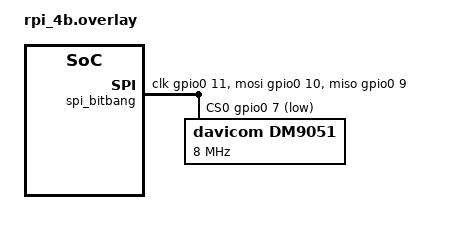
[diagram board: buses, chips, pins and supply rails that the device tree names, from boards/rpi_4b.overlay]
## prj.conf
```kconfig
CONFIG_NETWORKING=y
CONFIG_NET_IPV6=n
CONFIG_NET_IPV4=y
CONFIG_NET_ARP=y
CONFIG_NET_UDP=y
CONFIG_NET_DHCPV4=y
CONFIG_NET_DHCPV4_OPTION_CALLBACKS=y
CONFIG_DNS_RESOLVER=y

CONFIG_TEST_RANDOM_GENERATOR=y

CONFIG_INIT_STACKS=y

CONFIG_NET_MGMT=y
CONFIG_NET_MGMT_EVENT=y

CONFIG_NET_LOG=y
CONFIG_LOG=y

CONFIG_SLIP_STATISTICS=n
CONFIG_NET_SHELL=y

# Ethernet carrier changes (and various networking deferred works)
# run on the system workqueue. On rpi_4b + networking + shell + logging,
# the default stack can be too small and can manifest as hard faults in
# the sysworkq thread.
CONFIG_SYSTEM_WORKQUEUE_STACK_SIZE=8192

# Networking threads need significantly larger stacks on AArch64 (64-bit)
# to avoid overflows during complex packet processing or high traffic.
CONFIG_NET_RX_STACK_SIZE=4096
CONFIG_NET_TX_STACK_SIZE=4096
CONFIG_NET_MGMT_EVENT_STACK_SIZE=4096

# # Avoid "whole system" hangs if a work handler misbehaves: by default the
# # system workqueue runs at cooperative priority (-1) which can starve all
# # preemptible threads (LED blink, shell, etc.). Make it preemptible.
# CONFIG_SYSTEM_WORKQUEUE_PRIORITY=10

# # If any system work handler runs too long, abort it and log the offender.
# CONFIG_WORKQUEUE_WORK_TIMEOUT=y
# CONFIG_SYSTEM_WORKQUEUE_WORK_TIMEOUT_MS=2000

# Detect/report stack overflows early (helps confirm root cause).
CONFIG_STACK_SENTINEL=y
CONFIG_EXCEPTION_STACK_TRACE=y

# Thread monitoring and analysis to debug hangs (manual trigger via shell)
CONFIG_THREAD_ANALYZER=y
CONFIG_THREAD_NAME=y
CONFIG_THREAD_RUNTIME_STATS=y

# Verbose logging for net_mgmt events to trace carrier-on flow
#CONFIG_NET_MGMT_EVENT_LOG_LEVEL_DBG=y

# Config dm9051 (such as my "overlay_dm9051.conf")
# --- Basic Network Configuration ---
CONFIG_NET_L2_ETHERNET=y
# Enable Ethernet management interface to receive carrier events
CONFIG_NET_L2_ETHERNET_MGMT=y
CONFIG_NET_BUF_DATA_SIZE=2048
CONFIG_NET_IPV4_FRAGMENT=y
#(JJ.add))CONFIG_ETH_DM9051=y
CONFIG_ETH_DM9051=y
CONFIG_SPI=y
CONFIG_SPI_BITBANG=y
CONFIG_GPIO=y
#(JJ.add)CONFIG_ETH_DM9051_DEBUG_PRINTS=y
CONFIG_ETH_DM9051_DEBUG_PRINTS=y

# DM9051 RX thread: keep it preemptive but not too high priority,
# so it won't starve the UART shell on link-up/busy networks.
CONFIG_ETH_DM9051_RX_THREAD_PRIO=10
```

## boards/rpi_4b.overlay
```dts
/*
 * Copyright (c) 2025
 *
 * SPDX-License-Identifier: Apache-2.0
 */

&gpio0 {
	status = "okay";
};

/ {
	spi_bitbang: spi-bitbang {
		compatible = "zephyr,spi-bitbang";
		status = "okay";
		#address-cells = <1>;
		#size-cells = <0>;
		/* RPi4 GPIOs: SCLK=11, MOSI=10, MISO=9, CS=8 */
		clk-gpios = <&gpio0 11 GPIO_ACTIVE_HIGH>;
		mosi-gpios = <&gpio0 10 GPIO_ACTIVE_HIGH>;
		miso-gpios = <&gpio0 9 GPIO_ACTIVE_HIGH>;
		/*cs-gpios = <&gpio0 8 GPIO_ACTIVE_LOW>;*/
		cs-gpios = <&gpio0 7 GPIO_ACTIVE_LOW>;

		/* Adjust interrupt pin as needed. Example: GPIO 26 */
		dm9051@0 {
			compatible = "davicom,dm9051";
			reg = <0>;
			spi-max-frequency = <8000000>;
			
			/*int-gpios = <&gpio0 25 GPIO_ACTIVE_LOW>;*/
			/*int-gpios = <&gpio0 26 GPIO_ACTIVE_LOW>;*/
			local-mac-address = [00 00 00 00 00 00];
		};
	};
};
```

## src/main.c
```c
/* Networking DHCPv4 client */

/*
 * Copyright (c) 2017 ARM Ltd.
 * Copyright (c) 2016 Intel Corporation.
 *
 * SPDX-License-Identifier: Apache-2.0
 */

#include <zephyr/logging/log.h>
LOG_MODULE_REGISTER(net_dhcpv4_client_sample, LOG_LEVEL_DBG);

#include <zephyr/kernel.h>
#include <zephyr/drivers/gpio.h>
#include <zephyr/drivers/gpio.h>
#include <zephyr/linker/sections.h>
#include <errno.h>
#include <stdio.h>

#include <zephyr/net/net_if.h>
#include <zephyr/net/net_core.h>
#include <zephyr/net/net_context.h>
#include <zephyr/net/net_mgmt.h>
#include <zephyr/net/ethernet.h>
#include <zephyr/net/ethernet_mgmt.h>

#define DHCP_OPTION_NTP (42)

static uint8_t ntp_server[4];

static struct net_mgmt_event_callback mgmt_cb;

static struct net_dhcpv4_option_callback dhcp_cb;

static void start_dhcpv4_client(struct net_if *iface, void *user_data)
{
	ARG_UNUSED(user_data);

	LOG_INF("Start on %s: index=%d", net_if_get_device(iface)->name,
		net_if_get_by_iface(iface));
	net_dhcpv4_start(iface);
}

static void handler(struct net_mgmt_event_callback *cb,
		    uint64_t mgmt_event,
		    struct net_if *iface)
{
	int i = 0;

	if (mgmt_event == NET_EVENT_ETHERNET_CARRIER_ON) {
		printk("[TRACE] NET_EVENT_ETHERNET_CARRIER_ON received\n");
		return;
	}

	if (mgmt_event == NET_EVENT_ETHERNET_CARRIER_OFF) {
		printk("[TRACE] NET_EVENT_ETHERNET_CARRIER_OFF received\n");
		return;
	}

	if (mgmt_event != NET_EVENT_IPV4_ADDR_ADD) {
		return;
	}

	if (iface == NULL || iface->config.ip.ipv4 == NULL) {
		LOG_WRN("IPv4 addr add event for iface without IPv4 config");
		return;
	}

	for (i = 0; i < NET_IF_MAX_IPV4_ADDR; i++) {
		char buf[NET_IPV4_ADDR_LEN];

		if (iface->config.ip.ipv4->unicast[i].ipv4.addr_type !=
							NET_ADDR_DHCP) {
			continue;
		}

		LOG_INF("   Address[%d]: %s", net_if_get_by_iface(iface),
			net_addr_ntop(NET_AF_INET,
			    &iface->config.ip.ipv4->unicast[i].ipv4.address.in_addr,
						  buf, sizeof(buf)));
		LOG_INF("    Subnet[%d]: %s", net_if_get_by_iface(iface),
			net_addr_ntop(NET_AF_INET,
				       &iface->config.ip.ipv4->unicast[i].netmask,
				       buf, sizeof(buf)));
		LOG_INF("    Router[%d]: %s", net_if_get_by_iface(iface),
			net_addr_ntop(NET_AF_INET,
						 &iface->config.ip.ipv4->gw,
						 buf, sizeof(buf)));
		LOG_INF("Lease time[%d]: %u seconds", net_if_get_by_iface(iface),
			iface->config.dhcpv4.lease_time);
	}
}

static void option_handler(struct net_dhcpv4_option_callback *cb,
			   size_t length,
			   enum net_dhcpv4_msg_type msg_type,
			   struct net_if *iface)
{
	char buf[NET_IPV4_ADDR_LEN];

	LOG_INF("DHCP Option %d: %s", cb->option,
		net_addr_ntop(NET_AF_INET, cb->data, buf, sizeof(buf)));
}

int main(void)
{
	static const struct gpio_dt_spec led = GPIO_DT_SPEC_GET(DT_ALIAS(led0), gpios);

	if (gpio_is_ready_dt(&led)) {
		gpio_pin_configure_dt(&led, GPIO_OUTPUT_ACTIVE);
	}

	LOG_INF("Run dhcpv4 client");

#if 1
	net_mgmt_init_event_callback(&mgmt_cb, handler,
				     NET_EVENT_IPV4_ADDR_ADD |
				     NET_EVENT_ETHERNET_CARRIER_ON |
				     NET_EVENT_ETHERNET_CARRIER_OFF);
	net_mgmt_add_event_callback(&mgmt_cb);
#endif

	net_dhcpv4_init_option_callback(&dhcp_cb, option_handler,
					DHCP_OPTION_NTP, ntp_server,
					sizeof(ntp_server));

	net_dhcpv4_add_option_callback(&dhcp_cb);

	net_if_foreach(start_dhcpv4_client, NULL);

	printk("[TRACE] Entering main LED blink loop\n");
	while (1) {
		if (gpio_is_ready_dt(&led)) {
			gpio_pin_toggle_dt(&led);
		}
		k_msleep(1000);
	}
	return 0;
}
```
